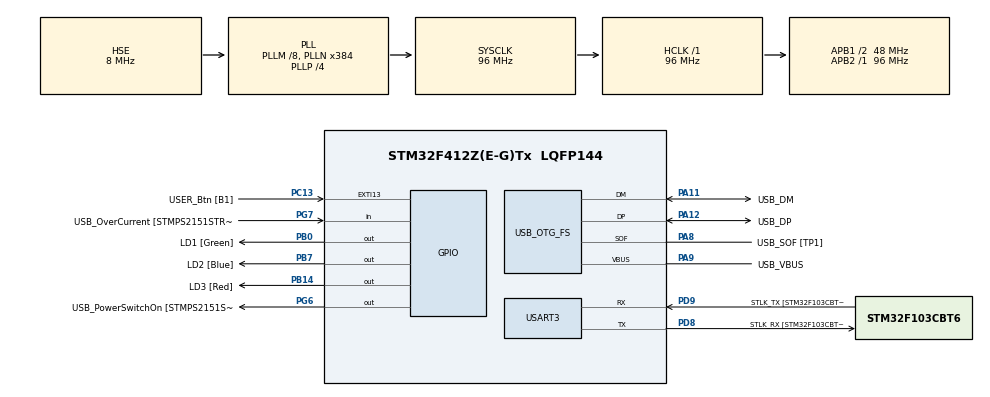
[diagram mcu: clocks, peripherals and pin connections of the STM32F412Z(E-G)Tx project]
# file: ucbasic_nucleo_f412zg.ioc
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Mcu.Family=STM32F4
Mcu.Name=STM32F412Z(E-G)Tx
Mcu.Package=LQFP144
NVIC.PriorityGroup=NVIC_PRIORITYGROUP_4
PA10.GPIO_Label=USB_ID
PA10.Signal=USB_OTG_FS_ID
PA11.GPIO_Label=USB_DM
PA11.Mode=Device_Only
PA11.Signal=USB_OTG_FS_DM
PA12.GPIO_Label=USB_DP
PA12.Mode=Device_Only
PA12.Signal=USB_OTG_FS_DP
PA13.GPIO_Label=TMS
PA13.Mode=Serial_Wire
PA13.Signal=SYS_JTMS-SWDIO
PA14.GPIO_Label=TCK
PA14.Mode=Serial_Wire
PA14.Signal=SYS_JTCK-SWCLK
PA8.GPIO_Label=USB_SOF [TP1]
PA8.Mode=Activate_SOF_FS
PA8.Signal=USB_OTG_FS_SOF
PA9.GPIO_Label=USB_VBUS
PA9.Mode=Activate_VBUS
PA9.Signal=USB_OTG_FS_VBUS
PB0.GPIO_Label=LD1 [Green]
PB0.Signal=GPIO_Output
PB14.GPIO_Label=LD3 [Red]
PB14.Signal=GPIO_Output
PB3.GPIO_Label=SWO
PB3.Signal=SYS_JTDO-SWO
PB7.GPIO_Label=LD2 [Blue]
PB7.Signal=GPIO_Output
PC13.GPIO_Label=USER_Btn [B1]
PC13.Signal=GPXTI13
PC14-OSC32_IN.Mode=LSE-External-Oscillator
PC14-OSC32_IN.Signal=RCC_OSC32_IN
PC15-OSC32_OUT.Mode=LSE-External-Oscillator
PC15-OSC32_OUT.Signal=RCC_OSC32_OUT
PD8.GPIO_Label=STLK_RX [STM32F103CBT6_PA3]
PD8.Mode=Asynchronous
PD8.Signal=USART3_TX
PD9.GPIO_Label=STLK_TX [STM32F103CBT6_PA2]
PD9.Mode=Asynchronous
PD9.Signal=USART3_RX
PG6.GPIO_Label=USB_PowerSwitchOn [STMPS2151STR_EN]
PG6.Signal=GPIO_Output
PG7.GPIO_Label=USB_OverCurrent [STMPS2151STR_FAULT]
PG7.Signal=GPIO_Input
PH0\ -\ OSC_IN.GPIO_Label=MCO
PH0\ -\ OSC_IN.Mode=HSE-External-Clock-Source
PH0\ -\ OSC_IN.Signal=RCC_OSC_IN
PH1\ -\ OSC_OUT.Mode=HSE-External-Clock-Source
PH1\ -\ OSC_OUT.Signal=RCC_OSC_OUT
ProjectManager.HeapSize=0x200
ProjectManager.StackSize=0x400
ProjectManager.TargetToolchain=STM32CubeIDE
RCC.48MHZClocksFreq_Value=24000000
RCC.AHBFreq_Value=96000000
RCC.APB1CLKDivider=RCC_HCLK_DIV2
RCC.APB1Freq_Value=48000000
RCC.APB1TimFreq_Value=96000000
RCC.APB2Freq_Value=96000000
RCC.APB2TimFreq_Value=96000000
RCC.CortexFreq_Value=96000000
RCC.HCLKFreq_Value=96000000
RCC.HSE_VALUE=8000000
RCC.HSI_VALUE=16000000
RCC.PLLM=8
RCC.PLLMUL=RCC_PLL_MUL9
RCC.PLLN=384
RCC.PLLP=RCC_PLLP_DIV4
RCC.PLLQ=8
RCC.PRESCALERUSB=RCC_USBCLKSOURCE_PLL_DIV1_5
RCC.SYSCLKFreq_VALUE=96000000
RCC.SYSCLKSource=RCC_SYSCLKSOURCE_PLLCLK
RCC.SYSCLKSourceVirtual=RCC_SYSCLKSOURCE_PLLCLK
RCC.USBFreq_Value=48000000
RCC.VCOOutputFreq_Value=384000000
USART3.VirtualMode=VM_ASYNC
USB_OTG_FS.VirtualMode=Device_Only
board=NUCLEO-F412ZG

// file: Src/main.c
/* USER CODE BEGIN Header */
/**
  ******************************************************************************
  * @file           : main.c
  * @brief          : Main program body
  ******************************************************************************
  * @attention
  *
  * Copyright (c) 2024 STMicroelectronics.
  * All rights reserved.
  *
  * This software is licensed under terms that can be found in the LICENSE file
  * in the root directory of this software component.
  * If no LICENSE file comes with this software, it is provided AS-IS.
  *
  ******************************************************************************
  */
/* USER CODE END Header */
#include "main.h"

/* USER CODE BEGIN Includes */
#include "basic_main.h"
#include "basic_stdio.h"
#include <stdarg.h>
#include <stdio.h>
/* USER CODE END Includes */

UART_HandleTypeDef huart3;

PCD_HandleTypeDef hpcd_USB_OTG_FS;

/* USER CODE BEGIN PV */
static BASIC_MAIN_STATE basic_state;
static uint8_t basic_memory[4096];
/* USER CODE END PV */

void SystemClock_Config(void);
static void MX_GPIO_Init(void);
static void MX_USART3_UART_Init(void);
static void MX_USB_OTG_FS_PCD_Init(void);

int main(void)
{

  /* MCU Configuration--------------------------------------------------------*/

  /* Reset of all peripherals, Initializes the Flash interface and the Systick. */
  HAL_Init();

  /* Configure the system clock */
  SystemClock_Config();

  /* Initialize all configured peripherals */
  MX_GPIO_Init();
  MX_USART3_UART_Init();
  MX_USB_OTG_FS_PCD_Init();
  /* USER CODE BEGIN 2 */
  basic_main_initialize(&basic_state, basic_memory, sizeof(basic_memory));
  basic_printf("BASIC *uC*\n");
  basic_main_interactive_prompt(&basic_state);
  /* USER CODE END 2 */

  /* Infinite loop */
  while (1)
  {

  }
}

void SystemClock_Config(void)
{
  RCC_OscInitTypeDef RCC_OscInitStruct = {0};
  RCC_ClkInitTypeDef RCC_ClkInitStruct = {0};

  /** Configure the main internal regulator output voltage
  */
  __HAL_RCC_PWR_CLK_ENABLE();
  __HAL_PWR_VOLTAGESCALING_CONFIG(PWR_REGULATOR_VOLTAGE_SCALE1);

  /** Initializes the RCC Oscillators according to the specified parameters
  * in the RCC_OscInitTypeDef structure.
  */
  RCC_OscInitStruct.OscillatorType = RCC_OSCILLATORTYPE_HSE;
  RCC_OscInitStruct.HSEState = RCC_HSE_BYPASS;
  RCC_OscInitStruct.PLL.PLLState = RCC_PLL_ON;
  RCC_OscInitStruct.PLL.PLLSource = RCC_PLLSOURCE_HSE;
  RCC_OscInitStruct.PLL.PLLM = 8;
  RCC_OscInitStruct.PLL.PLLN = 384;
  RCC_OscInitStruct.PLL.PLLP = RCC_PLLP_DIV4;
  RCC_OscInitStruct.PLL.PLLQ = 8;
  RCC_OscInitStruct.PLL.PLLR = 2;
  if (HAL_RCC_OscConfig(&RCC_OscInitStruct) != HAL_OK)
  {
    Error_Handler();
  }

  /** Initializes the CPU, AHB and APB buses clocks
  */
  RCC_ClkInitStruct.ClockType = RCC_CLOCKTYPE_HCLK|RCC_CLOCKTYPE_SYSCLK
                              |RCC_CLOCKTYPE_PCLK1|RCC_CLOCKTYPE_PCLK2;
  RCC_ClkInitStruct.SYSCLKSource = RCC_SYSCLKSOURCE_PLLCLK;
  RCC_ClkInitStruct.AHBCLKDivider = RCC_SYSCLK_DIV1;
  RCC_ClkInitStruct.APB1CLKDivider = RCC_HCLK_DIV2;
  RCC_ClkInitStruct.APB2CLKDivider = RCC_HCLK_DIV1;

  if (HAL_RCC_ClockConfig(&RCC_ClkInitStruct, FLASH_LATENCY_3) != HAL_OK)
  {
    Error_Handler();
  }
}

static void MX_USART3_UART_Init(void)
{

  huart3.Instance = USART3;
  huart3.Init.BaudRate = 115200;
  huart3.Init.WordLength = UART_WORDLENGTH_8B;
  huart3.Init.StopBits = UART_STOPBITS_1;
  huart3.Init.Parity = UART_PARITY_NONE;
  huart3.Init.Mode = UART_MODE_TX_RX;
  huart3.Init.HwFlowCtl = UART_HWCONTROL_NONE;
  huart3.Init.OverSampling = UART_OVERSAMPLING_16;
  if (HAL_UART_Init(&huart3) != HAL_OK)
  {
    Error_Handler();
  }

}

static void MX_USB_OTG_FS_PCD_Init(void)
{

  hpcd_USB_OTG_FS.Instance = USB_OTG_FS;
  hpcd_USB_OTG_FS.Init.dev_endpoints = 6;
  hpcd_USB_OTG_FS.Init.speed = PCD_SPEED_FULL;
  hpcd_USB_OTG_FS.Init.dma_enable = DISABLE;
  hpcd_USB_OTG_FS.Init.phy_itface = PCD_PHY_EMBEDDED;
  hpcd_USB_OTG_FS.Init.Sof_enable = ENABLE;
  hpcd_USB_OTG_FS.Init.low_power_enable = DISABLE;
  hpcd_USB_OTG_FS.Init.lpm_enable = DISABLE;
  hpcd_USB_OTG_FS.Init.battery_charging_enable = ENABLE;
  hpcd_USB_OTG_FS.Init.vbus_sensing_enable = ENABLE;
  hpcd_USB_OTG_FS.Init.use_dedicated_ep1 = DISABLE;
  if (HAL_PCD_Init(&hpcd_USB_OTG_FS) != HAL_OK)
  {
    Error_Handler();
  }

}

static void MX_GPIO_Init(void)
{
  GPIO_InitTypeDef GPIO_InitStruct = {0};

  /* GPIO Ports Clock Enable */
  __HAL_RCC_GPIOE_CLK_ENABLE();
  __HAL_RCC_GPIOC_CLK_ENABLE();
  __HAL_RCC_GPIOF_CLK_ENABLE();
  __HAL_RCC_GPIOH_CLK_ENABLE();
  __HAL_RCC_GPIOA_CLK_ENABLE();
  __HAL_RCC_GPIOB_CLK_ENABLE();
  __HAL_RCC_GPIOG_CLK_ENABLE();
  __HAL_RCC_GPIOD_CLK_ENABLE();

  /*Configure GPIO pin Output Level */
  HAL_GPIO_WritePin(GPIOB, LD1_Pin|LD3_Pin|LD2_Pin, GPIO_PIN_RESET);

  /*Configure GPIO pin Output Level */
  HAL_GPIO_WritePin(USB_PowerSwitchOn_GPIO_Port, USB_PowerSwitchOn_Pin, GPIO_PIN_RESET);

  /*Configure GPIO pins : PE2 PE3 PE4 PE5
                           PE6 PE7 PE8 PE9
                           PE10 PE11 PE12 PE13
                           PE14 PE15 PE0 PE1 */
  GPIO_InitStruct.Pin = GPIO_PIN_2|GPIO_PIN_3|GPIO_PIN_4|GPIO_PIN_5
                          |GPIO_PIN_6|GPIO_PIN_7|GPIO_PIN_8|GPIO_PIN_9
                          |GPIO_PIN_10|GPIO_PIN_11|GPIO_PIN_12|GPIO_PIN_13
                          |GPIO_PIN_14|GPIO_PIN_15|GPIO_PIN_0|GPIO_PIN_1;
  GPIO_InitStruct.Mode = GPIO_MODE_ANALOG;
  GPIO_InitStruct.Pull = GPIO_NOPULL;
  HAL_GPIO_Init(GPIOE, &GPIO_InitStruct);

  /*Configure GPIO pin : USER_Btn_Pin */
  GPIO_InitStruct.Pin = USER_Btn_Pin;
  GPIO_InitStruct.Mode = GPIO_MODE_IT_RISING;
  GPIO_InitStruct.Pull = GPIO_NOPULL;
  HAL_GPIO_Init(USER_Btn_GPIO_Port, &GPIO_InitStruct);

  /*Configure GPIO pins : PF0 PF1 PF2 PF3
                           PF4 PF5 PF6 PF7
                           PF8 PF9 PF10 PF11
                           PF12 PF13 PF14 PF15 */
  GPIO_InitStruct.Pin = GPIO_PIN_0|GPIO_PIN_1|GPIO_PIN_2|GPIO_PIN_3
                          |GPIO_PIN_4|GPIO_PIN_5|GPIO_PIN_6|GPIO_PIN_7
                          |GPIO_PIN_8|GPIO_PIN_9|GPIO_PIN_10|GPIO_PIN_11
                          |GPIO_PIN_12|GPIO_PIN_13|GPIO_PIN_14|GPIO_PIN_15;
  GPIO_InitStruct.Mode = GPIO_MODE_ANALOG;
  GPIO_InitStruct.Pull = GPIO_NOPULL;
  HAL_GPIO_Init(GPIOF, &GPIO_InitStruct);

  /*Configure GPIO pins : PC0 PC1 PC2 PC3
                           PC4 PC5 PC6 PC7
                           PC8 PC9 PC10 PC11
                           PC12 */
  GPIO_InitStruct.Pin = GPIO_PIN_0|GPIO_PIN_1|GPIO_PIN_2|GPIO_PIN_3
                          |GPIO_PIN_4|GPIO_PIN_5|GPIO_PIN_6|GPIO_PIN_7
                          |GPIO_PIN_8|GPIO_PIN_9|GPIO_PIN_10|GPIO_PIN_11
                          |GPIO_PIN_12;
  GPIO_InitStruct.Mode = GPIO_MODE_ANALOG;
  GPIO_InitStruct.Pull = GPIO_NOPULL;
  HAL_GPIO_Init(GPIOC, &GPIO_InitStruct);

  /*Configure GPIO pins : PA0 PA1 PA2 PA3
                           PA4 PA5 PA6 PA7
                           PA15 */
  GPIO_InitStruct.Pin = GPIO_PIN_0|GPIO_PIN_1|GPIO_PIN_2|GPIO_PIN_3
                          |GPIO_PIN_4|GPIO_PIN_5|GPIO_PIN_6|GPIO_PIN_7
                          |GPIO_PIN_15;
  GPIO_InitStruct.Mode = GPIO_MODE_ANALOG;
  GPIO_InitStruct.Pull = GPIO_NOPULL;
  HAL_GPIO_Init(GPIOA, &GPIO_InitStruct);

  /*Configure GPIO pins : LD1_Pin LD3_Pin LD2_Pin */
  GPIO_InitStruct.Pin = LD1_Pin|LD3_Pin|LD2_Pin;
  GPIO_InitStruct.Mode = GPIO_MODE_OUTPUT_PP;
  GPIO_InitStruct.Pull = GPIO_NOPULL;
  GPIO_InitStruct.Speed = GPIO_SPEED_FREQ_LOW;
  HAL_GPIO_Init(GPIOB, &GPIO_InitStruct);

  /*Configure GPIO pins : PB1 PB2 PB10 PB11
                           PB12 PB13 PB15 PB4
                           PB5 PB6 PB8 PB9 */
  GPIO_InitStruct.Pin = GPIO_PIN_1|GPIO_PIN_2|GPIO_PIN_10|GPIO_PIN_11
                          |GPIO_PIN_12|GPIO_PIN_13|GPIO_PIN_15|GPIO_PIN_4
                          |GPIO_PIN_5|GPIO_PIN_6|GPIO_PIN_8|GPIO_PIN_9;
  GPIO_InitStruct.Mode = GPIO_MODE_ANALOG;
  GPIO_InitStruct.Pull = GPIO_NOPULL;
  HAL_GPIO_Init(GPIOB, &GPIO_InitStruct);

  /*Configure GPIO pins : PG0 PG1 PG2 PG3
                           PG4 PG5 PG8 PG9
                           PG10 PG11 PG12 PG13
                           PG14 PG15 */
  GPIO_InitStruct.Pin = GPIO_PIN_0|GPIO_PIN_1|GPIO_PIN_2|GPIO_PIN_3
                          |GPIO_PIN_4|GPIO_PIN_5|GPIO_PIN_8|GPIO_PIN_9
                          |GPIO_PIN_10|GPIO_PIN_11|GPIO_PIN_12|GPIO_PIN_13
                          |GPIO_PIN_14|GPIO_PIN_15;
  GPIO_InitStruct.Mode = GPIO_MODE_ANALOG;
  GPIO_InitStruct.Pull = GPIO_NOPULL;
  HAL_GPIO_Init(GPIOG, &GPIO_InitStruct);

  /*Configure GPIO pins : PD10 PD11 PD12 PD13
                           PD14 PD15 PD0 PD1
                           PD2 PD3 PD4 PD5
                           PD6 PD7 */
  GPIO_InitStruct.Pin = GPIO_PIN_10|GPIO_PIN_11|GPIO_PIN_12|GPIO_PIN_13
                          |GPIO_PIN_14|GPIO_PIN_15|GPIO_PIN_0|GPIO_PIN_1
                          |GPIO_PIN_2|GPIO_PIN_3|GPIO_PIN_4|GPIO_PIN_5
                          |GPIO_PIN_6|GPIO_PIN_7;
  GPIO_InitStruct.Mode = GPIO_MODE_ANALOG;
  GPIO_InitStruct.Pull = GPIO_NOPULL;
  HAL_GPIO_Init(GPIOD, &GPIO_InitStruct);

  /*Configure GPIO pin : USB_PowerSwitchOn_Pin */
  GPIO_InitStruct.Pin = USB_PowerSwitchOn_Pin;
  GPIO_InitStruct.Mode = GPIO_MODE_OUTPUT_PP;
  GPIO_InitStruct.Pull = GPIO_NOPULL;
  GPIO_InitStruct.Speed = GPIO_SPEED_FREQ_LOW;
  HAL_GPIO_Init(USB_PowerSwitchOn_GPIO_Port, &GPIO_InitStruct);

  /*Configure GPIO pin : USB_OverCurrent_Pin */
  GPIO_InitStruct.Pin = USB_OverCurrent_Pin;
  GPIO_InitStruct.Mode = GPIO_MODE_INPUT;
  GPIO_InitStruct.Pull = GPIO_NOPULL;
  HAL_GPIO_Init(USB_OverCurrent_GPIO_Port, &GPIO_InitStruct);

}

/* USER CODE BEGIN 4 */
static char bas_io_buf[256];

int basic_printf(const char *restrict format, ... )
{
    va_list v;
    va_start(v, format);
    int sres = vsnprintf(bas_io_buf, sizeof(bas_io_buf), format, v);
    va_end(v);
    for(int i=0; i<sres; i++)
    {
    	basic_putchar(bas_io_buf[i]);
    }

    return sres;
}

int basic_putchar( int ch )
{
	if(ch == '\n')
	{
		basic_putchar('\r');
	}
	unsigned char uch = ch;
	HAL_UART_Transmit(&huart3, &uch, 1, HAL_MAX_DELAY);
	return ch;
}

char *basic_fgets_stdin( char *restrict str, int count)
{
	int received = 0;
	while(received < count)
	{
		unsigned char uch;
		HAL_UART_Receive(&huart3, &uch, 1, HAL_MAX_DELAY);
		if(uch == '\r')
		{
			 /* Convert CRs into LFs */
			uch = '\n';
		}
		str[received++] = (char)uch;
		if(uch == '\n')
		{
			/* Quit on EOL */
			break;
		}
	}
	return str;
}

bool basic_callback_check_break_key(void)
{
	/* Use the User Button as a break key */
	return HAL_GPIO_ReadPin(USER_Btn_GPIO_Port, USER_Btn_Pin) == GPIO_PIN_SET;
}

/* USER CODE END 4 */

void Error_Handler(void)
{
  __disable_irq();
  while (1)
  {
  }
}
